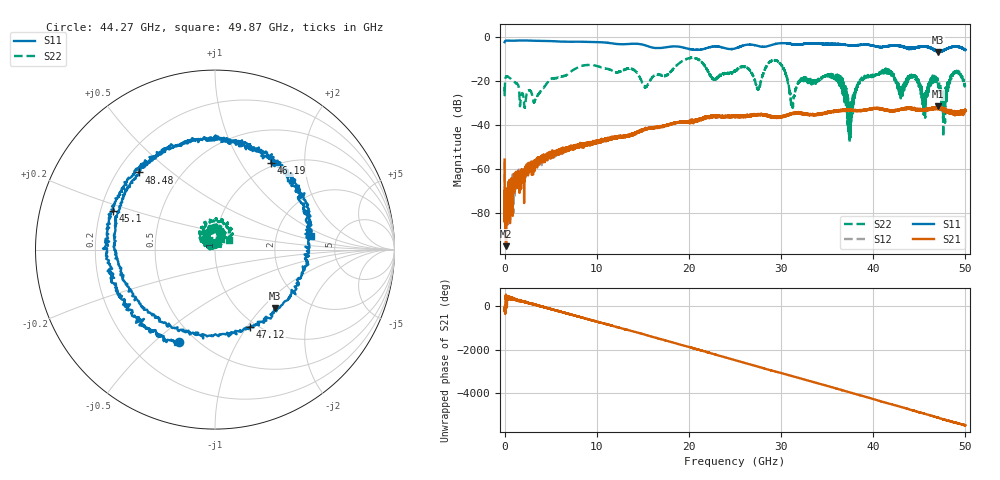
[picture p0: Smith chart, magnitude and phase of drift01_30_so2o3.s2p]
!Created with skrf (http://scikit-rf.org).
# Hz S RI R 50.0
!freq ReS11 ImS11 ReS21 ImS21 ReS12 ImS12 ReS22 ImS22
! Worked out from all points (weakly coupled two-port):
!   10001 points, 300 kHz to 50 GHz, reference 50 ohm
!   highest |S21| = -31.39 dB at 47.04 GHz (marker M1); lowest = -95.0 dB at 155.3 MHz (marker M2)
!   lowest |S11| = -6.6 dB at 46.98 GHz (marker M3), VSWR 2.75, Z = 71 - j59.2 ohm
!   |S11| at or under -10 dB: nowhere
!   |S22| runs from -47.8 to -9.2 dB; largest |S21 - S12| = 0.0043
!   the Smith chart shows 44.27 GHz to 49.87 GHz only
!   S11 on the Smith chart (normalised r, x): 44.27 GHz: 0.41, -0.60; 45.1 GHz: 0.25, +0.17; 46.19 GHz: 0.96, +1.37; 47.12 GHz: 0.94, -1.04; 48.48 GHz: 0.29, +0.39; 49.87 GHz: 3.20, +0.69
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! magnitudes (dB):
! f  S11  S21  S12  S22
! 300 kHz  -2.1  -55.6  -56.3  -22.4
! 155.3 MHz  -1.5  -95.0  -76.0  -17.8
! 3.29 GHz  -1.5  -57.4  -56.9  -28.9
! 8.335 GHz  -1.9  -48.6  -49.0  -12.9
! 16.67 GHz  -4.8  -40.7  -40.9  -16.7
! 25 GHz  -5.0  -35.9  -35.9  -15.4
! 29.58 GHz  -2.8  -36.2  -36.3  -10.6
! 31.24 GHz  -3.1  -34.6  -34.7  -31.6
! 33.34 GHz  -2.6  -35.0  -35.2  -19.8
! 36.08 GHz  -3.1  -33.4  -33.6  -18.2
! 37.47 GHz  -3.6  -33.3  -33.2  -40.5
! 38.67 GHz  -3.4  -33.3  -33.2  -19.8
! 41.67 GHz  -3.9  -33.3  -33.4  -15.2
! 44.27 GHz  -5.2  -32.4  -32.8  -18.3
! 45.1 GHz  -4.3  -32.9  -32.8  -22.6
! 46.19 GHz  -4.8  -32.6  -32.6  -20.7
! 46.98 GHz  -6.6  -32.1  -32.2  -19.1
! 47.04 GHz  -6.2  -31.4  -31.9  -21.9
! 47.12 GHz  -6.5  -31.7  -32.1  -20.5
! 48.48 GHz  -4.4  -33.8  -34.1  -18.1
! 49.87 GHz  -5.3  -34.3  -33.7  -20.4
! 50 GHz  -5.6  -33.3  -33.4  -21.9
